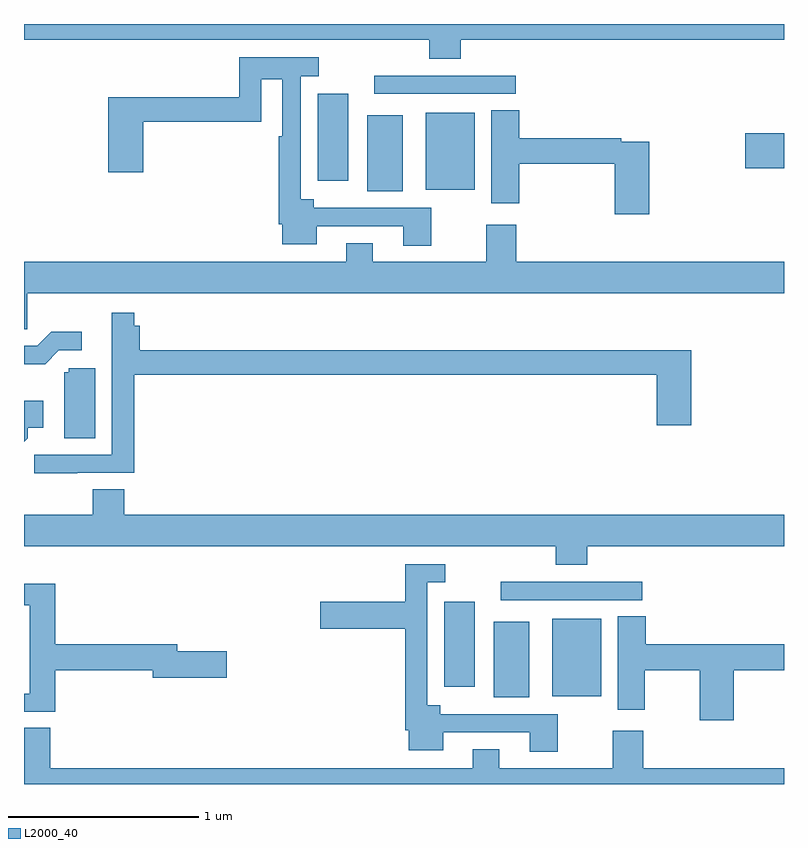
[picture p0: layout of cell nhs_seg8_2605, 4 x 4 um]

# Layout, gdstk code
import gdstk
lib = gdstk.Library(unit=1e-6, precision=1e-09)
def R(c, l, rs):  # rectangles x0, y0, x1, y1
    for r in rs: c.add(gdstk.rectangle(r[:2], r[2:], *l))
def P(c, l, *ps):  # polygons
    for p in ps: c.add(gdstk.Polygon(p, *l))
L2000_40 = (2000, 40)

nhs_seg8_2605 = lib.new_cell('nhs_seg8_2605')
R(nhs_seg8_2605, L2000_40, [(277.472,1130.357,277.66,1130.755), (277.781,1130.363,278.038,1130.77), (277.211,1130.412,277.372,1130.86), (277.509,1130.868,278.254,1130.964), (276.806,1133.021,276.994,1133.419), (277.115,1133.027,277.372,1133.434), (276.545,1133.076,276.706,1133.533), (278.796,1133.141,279,1133.324), (276.843,1133.532,277.588,1133.628)])
P(nhs_seg8_2605, L2000_40, [(277.298,1133.816),(279,1133.816),(279,1133.9),(275,1133.9),(275,1133.816),(277.133,1133.816),(277.133,1133.717),(277.298,1133.717)],
  [(277.143,1132.932),(276.526,1132.932),(276.526,1132.978),(276.456,1132.978),(276.456,1133.624),(276.55,1133.624),(276.55,1133.724),(276.133,1133.724),(276.133,1133.515),(275.444,1133.515),(275.444,1133.121),(275.627,1133.121),(275.627,1133.386),(276.249,1133.386),(276.249,1133.608),(276.36,1133.608),(276.36,1133.309),(276.34,1133.309),(276.34,1132.846),(276.359,1132.846),(276.359,1132.742),(276.541,1132.742),(276.541,1132.836),(276.995,1132.836),(276.995,1132.734),(277.143,1132.734)],
  [(278.291,1133.28),(278.144,1133.28),(278.144,1133.3),(277.607,1133.3),(277.607,1133.447),(277.46,1133.447),(277.46,1132.956),(277.607,1132.956),(277.607,1133.164),(278.108,1133.164),(278.108,1132.899),(278.291,1132.899)],
  [(275.016,1132.484),(279,1132.484),(279,1132.648),(277.592,1132.648),(277.592,1132.843),(277.432,1132.843),(277.432,1132.648),(276.835,1132.648),(276.835,1132.747),(276.695,1132.747),(276.695,1132.648),(275,1132.648),(275,1132.294),(275.016,1132.294)],
  [(275.279,1131.537),(275.579,1131.537),(275.579,1132.054),(278.33,1132.054),(278.33,1131.789),(278.513,1131.789),(278.513,1132.183),(275.609,1132.183),(275.609,1132.312),(275.579,1132.312),(275.579,1132.381),(275.463,1132.381),(275.463,1131.633),(275.055,1131.633),(275.055,1131.535),(275.279,1131.535)],
  [(275.184,1132.182),(275.305,1132.182),(275.305,1132.279),(275.143,1132.279),(275.07,1132.206),(275,1132.206),(275,1132.11),(275.012,1132.11),(275.012,1132.109),(275.111,1132.109)],
  [(275.374,1132.089),(275.235,1132.089),(275.235,1132.068),(275.213,1132.068),(275.213,1131.72),(275.374,1131.72)],
  [(275.02,1131.721),(275.02,1131.776),(275.101,1131.776),(275.101,1131.916),(275,1131.916),(275,1131.701)],
  [(277.964,1131.152),(279,1131.152),(279,1131.316),(275.528,1131.316),(275.528,1131.452),(275.363,1131.452),(275.363,1131.316),(275,1131.316),(275,1131.152),(277.799,1131.152),(277.799,1131.053),(277.964,1131.053)],
  [(277.809,1130.268),(277.192,1130.268),(277.192,1130.314),(277.122,1130.314),(277.122,1130.961),(277.216,1130.961),(277.216,1131.057),(277.006,1131.057),(277.006,1130.859),(276.558,1130.859),(276.558,1130.717),(277.006,1130.717),(277.006,1130.182),(277.025,1130.182),(277.025,1130.078),(277.207,1130.078),(277.207,1130.172),(277.661,1130.172),(277.661,1130.07),(277.809,1130.07)],
  [(275.165,1130.5),(275.678,1130.5),(275.678,1130.458),(276.067,1130.458),(276.067,1130.6),(275.806,1130.6),(275.806,1130.636),(275.165,1130.636),(275.165,1130.953),(275,1130.953),(275,1130.84),(275.03,1130.84),(275.03,1130.376),(275,1130.376),(275,1130.28),(275.165,1130.28)],
  [(278.735,1130.5),(279,1130.5),(279,1130.636),(278.273,1130.636),(278.273,1130.783),(278.126,1130.783),(278.126,1130.292),(278.268,1130.292),(278.268,1130.5),(278.557,1130.5),(278.557,1130.235),(278.735,1130.235)],
  [(277.501,1130.083),(277.361,1130.083),(277.361,1129.984),(275.138,1129.984),(275.138,1130.195),(275,1130.195),(275,1129.9),(279,1129.9),(279,1129.984),(278.258,1129.984),(278.258,1130.179),(278.098,1130.179),(278.098,1129.984),(277.501,1129.984)])

lib.write_gds('nhs_seg8_2605.gds')
